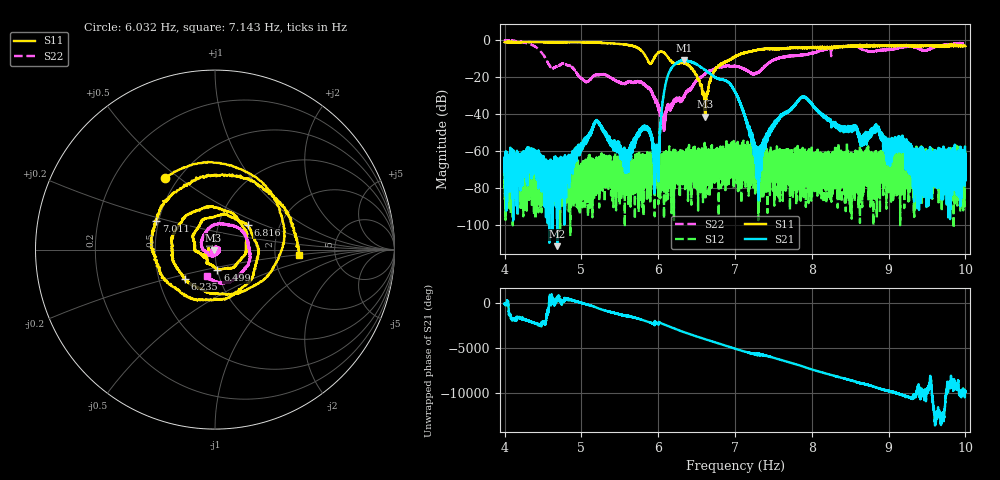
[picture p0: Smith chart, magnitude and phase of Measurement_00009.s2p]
!Created with skrf (http://scikit-rf.org).
# Hz S RI R 50.0
!freq ReS11 ImS11 ReS21 ImS21 ReS12 ImS12 ReS22 ImS22
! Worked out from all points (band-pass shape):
!   14001 points, 4 Hz to 10 Hz, reference 50 ohm
!   highest |S21| = -10.77 dB at 6.341 Hz (marker M1); lowest = -111.7 dB at 4.686 Hz (marker M2)
!   |S21| within 3 dB of the highest: 6.200456 Hz to 6.201078 Hz (621.7 uHz wide, 0.01 % of centre); 6.201 Hz to 6.527 Hz (326.1 mHz wide, 5.12 % of centre)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
!   lowest |S11| = -41.5 dB at 6.612 Hz (marker M3), VSWR 1.02, Z = 49.2 - j0.279 ohm
!   |S11| at or under -10 dB: 5.854 Hz to 5.944 Hz (89.84 mHz wide, 1.52 % of centre); 6.141 Hz to 6.956 Hz (814.7 mHz wide, 12.4 % of centre); 6.955926 Hz to 6.956944 Hz (1.017 mHz wide, 0.0146 % of centre)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
!   |S22| runs from -50.3 to -0.2 dB; largest |S21 - S12| = 0.29
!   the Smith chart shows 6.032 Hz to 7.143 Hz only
!   S11 on the Smith chart (normalised r, x): 6.032 Hz: 0.43, +0.45; 6.235 Hz: 0.68, -0.23; 6.499 Hz: 1.00, -0.23; 6.816 Hz: 1.38, +0.40; 7.011 Hz: 0.49, +0.18; 7.143 Hz: 2.75, -0.21
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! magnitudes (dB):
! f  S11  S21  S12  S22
! 4 Hz  -1.1  -64.9  -80.1  -0.2
! 4.686 Hz  -1.1  -111.7  -67.8  -14.1
! 5 Hz  -1.2  -57.5  -67.1  -20.8
! 5.202 Hz  -1.4  -43.7  -72.2  -18.8
! 5.576 Hz  -2.5  -63.2  -68.4  -23.3
! 5.814 Hz  -7.3  -47.7  -69.8  -23.9
! 6 Hz  -6.8  -65.4  -72.1  -35.5
! 6.032 Hz  -6.2  -44.3  -66.1  -40.1
! 6.106 Hz  -8.1  -22.1  -62.3  -37.7
! 6.235 Hz  -12.6  -12.6  -69.2  -32.7
! 6.341 Hz  -12.3  -10.8  -72.8  -30.7
! 6.499 Hz  -18.9  -13.0  -62.6  -21.9
! 6.612 Hz  -41.5  -16.2  -70.6  -18.3
! 6.816 Hz  -12.8  -21.2  -63.1  -14.6
! 7 Hz  -9.0  -28.1  -58.1  -14.1
! 7.011 Hz  -8.8  -28.9  -69.2  -14.1
! 7.143 Hz  -6.6  -43.1  -58.8  -16.2
! 7.312 Hz  -5.2  -62.9  -63.4  -17.0
! 7.6 Hz  -4.7  -41.1  -65.6  -9.3
! 8 Hz  -4.2  -34.4  -66.6  -6.9
! 9 Hz  -3.1  -55.9  -67.6  -5.0
! 10 Hz  -3.3  -67.1  -60.7  -3.0
